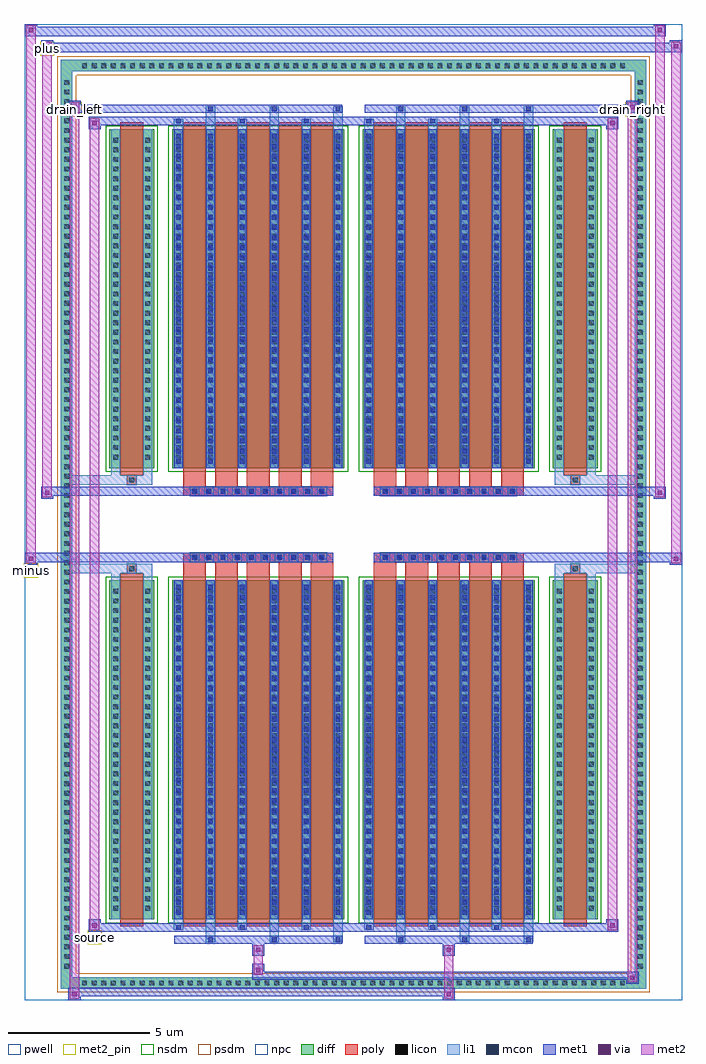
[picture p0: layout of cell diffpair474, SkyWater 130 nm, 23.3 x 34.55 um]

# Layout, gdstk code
import gdstk
lib = gdstk.Library(unit=1e-6, precision=5e-09)
def R(c, l, rs):  # rectangles x0, y0, x1, y1
    for r in rs: c.add(gdstk.rectangle(r[:2], r[2:], *l))
def A(c, l, x, y, w, h, nx, ny, dx, dy):  # array of equal rectangles
    R(c, l, [(x+i*dx, y+j*dy, x+i*dx+w, y+j*dy+h) for i in range(nx) for j in range(ny)])
def P(c, l, *ps):  # polygons
    for p in ps: c.add(gdstk.Polygon(p, *l))
pwell = (64, 44)
diff = (65, 20)
poly = (66, 20)
licon = (66, 44)
li1 = (67, 20)
mcon = (67, 44)
met1 = (68, 20)
via = (68, 44)
met2_pin = (69, 16)
met2 = (69, 20)
nsdm = (93, 44)
psdm = (94, 20)
npc = (95, 20)

diffpair474 = lib.new_cell('diffpair474')
R(diffpair474, pwell, [(-11.63,-16.84,11.63,17.71), (-8.95,-15.03,-0.01,-0.805), (0.01,-15.03,8.95,-0.805), (-8.95,0.805,-0.01,15.03), (0.01,0.805,8.95,15.03)])
A(diffpair474, diff, -9.725, -16.44, 0.41, 0.41, 57, 2, 0.34, 32.47)
A(diffpair474, diff, -10.36, -15.845, 0.41, 0.41, 1, 93, 0, 0.34)
A(diffpair474, diff, 9.95, -15.845, 0.41, 0.41, 1, 93, 0, 0.34)
R(diffpair474, diff, [(-9.725,-16.44,9.725,-16.03), (-10.36,-15.845,-9.95,15.845), (9.95,-15.845,10.36,15.845), (-8.64,-13.985,-7.06,-1.985), (-6.42,-13.985,-0.32,-1.985), (0.32,-13.985,6.42,-1.985), (7.06,-13.985,8.64,-1.985), (-8.64,1.985,-7.06,13.985), (-6.42,1.985,-0.32,13.985), (0.32,1.985,6.42,13.985), (7.06,1.985,8.64,13.985), (-9.725,16.03,9.725,16.44)])
P(diffpair474, diff, [(10.36,16.44),(-10.36,16.44),(-10.36,-16.03),(-9.95,-16.03),(-9.95,16.03),(9.95,16.03),(9.95,-16.03),(-9.95,-16.03),(-10.36,-16.03),(-10.36,-16.44),(10.36,-16.44)])
A(diffpair474, poly, -6.03, -14.235, 0.8, 12.5, 5, 2, 1.13, 15.97)
A(diffpair474, poly, 0.71, -14.235, 0.8, 12.5, 5, 2, 1.13, 15.97)
A(diffpair474, poly, -6.03, -1.735, 0.8, 0.4, 5, 2, 1.13, 3.07)
A(diffpair474, poly, 0.71, -1.735, 0.8, 0.4, 5, 2, 1.13, 3.07)
A(diffpair474, poly, -5.785, -1.335, 0.33, 0.33, 10, 2, 0.5, 2.34)
A(diffpair474, poly, 0.955, -1.335, 0.33, 0.33, 10, 2, 0.5, 2.34)
R(diffpair474, poly, [(-8.25,-14.235,-7.45,-1.735), (7.45,-14.235,8.25,-1.735), (-8.015,-1.735,-7.685,-1.405), (-8.015,-1.735,-7.685,-1.405), (7.685,-1.735,8.015,-1.405), (7.685,-1.735,8.015,-1.405), (-6.03,-1.335,-0.71,-1.005), (0.71,-1.335,6.03,-1.005), (-6.03,1.005,-0.71,1.335), (0.71,1.005,6.03,1.335), (-8.015,1.405,-7.685,1.735), (-8.015,1.405,-7.685,1.735), (7.685,1.405,8.015,1.735), (7.685,1.405,8.015,1.735), (-8.25,1.735,-7.45,14.235), (7.45,1.735,8.25,14.235)])
A(diffpair474, licon, -9.605, -16.32, 0.17, 0.17, 57, 2, 0.34, 32.47)
A(diffpair474, licon, -10.24, -15.725, 0.17, 0.17, 1, 93, 0, 0.34)
A(diffpair474, licon, 10.07, -15.725, 0.17, 0.17, 1, 93, 0, 0.34)
A(diffpair474, licon, -8.5, -13.68, 0.17, 0.17, 1, 34, 0, 0.34)
A(diffpair474, licon, -7.37, -13.68, 0.17, 0.17, 1, 34, 0, 0.34)
A(diffpair474, licon, -6.28, -13.68, 0.17, 0.17, 6, 34, 1.13, 0.34)
A(diffpair474, licon, 0.46, -13.68, 0.17, 0.17, 6, 34, 1.13, 0.34)
A(diffpair474, licon, 7.2, -13.68, 0.17, 0.17, 1, 34, 0, 0.34)
A(diffpair474, licon, 8.33, -13.68, 0.17, 0.17, 1, 34, 0, 0.34)
A(diffpair474, licon, -5.705, -1.255, 0.17, 0.17, 10, 2, 0.5, 2.34)
A(diffpair474, licon, 1.035, -1.255, 0.17, 0.17, 10, 2, 0.5, 2.34)
A(diffpair474, licon, -8.5, 2.29, 0.17, 0.17, 1, 34, 0, 0.34)
A(diffpair474, licon, -7.37, 2.29, 0.17, 0.17, 1, 34, 0, 0.34)
A(diffpair474, licon, -6.28, 2.29, 0.17, 0.17, 6, 34, 1.13, 0.34)
A(diffpair474, licon, 0.46, 2.29, 0.17, 0.17, 6, 34, 1.13, 0.34)
A(diffpair474, licon, 7.2, 2.29, 0.17, 0.17, 1, 34, 0, 0.34)
A(diffpair474, licon, 8.33, 2.29, 0.17, 0.17, 1, 34, 0, 0.34)
R(diffpair474, licon, [(-7.935,-1.655,-7.765,-1.485), (7.765,-1.655,7.935,-1.485), (-7.935,1.485,-7.765,1.655), (7.765,1.485,7.935,1.655)])
A(diffpair474, li1, -9.685, -16.4, 0.33, 0.33, 57, 2, 0.34, 32.47)
A(diffpair474, li1, -10.32, -15.805, 0.33, 0.33, 1, 93, 0, 0.34)
A(diffpair474, li1, 9.99, -15.805, 0.33, 0.33, 1, 93, 0, 0.34)
A(diffpair474, li1, -5.23, -14.79, 0.33, 0.805, 3, 2, 2.26, 28.775)
A(diffpair474, li1, -5.15, -14.79, 0.17, 0.17, 3, 2, 2.26, 29.41)
A(diffpair474, li1, 1.51, -14.79, 0.33, 0.805, 3, 2, 2.26, 28.775)
A(diffpair474, li1, 1.59, -14.79, 0.17, 0.17, 3, 2, 2.26, 29.41)
A(diffpair474, li1, -6.36, -14.36, 0.33, 0.375, 3, 2, 2.26, 28.345)
A(diffpair474, li1, -6.28, -14.36, 0.17, 0.17, 3, 2, 2.26, 28.55)
A(diffpair474, li1, 0.38, -14.36, 0.33, 0.375, 3, 2, 2.26, 28.345)
A(diffpair474, li1, 0.46, -14.36, 0.17, 0.17, 3, 2, 2.26, 28.55)
A(diffpair474, li1, -6.36, -13.985, 0.33, 12, 6, 2, 1.13, 15.97)
A(diffpair474, li1, 0.38, -13.985, 0.33, 12, 6, 2, 1.13, 15.97)
A(diffpair474, li1, -6.28, -13.83, 0.17, 0.17, 6, 33, 1.13, 0.36)
A(diffpair474, li1, -6.28, -13.83, 0.17, 11.69, 6, 2, 1.13, 15.97)
A(diffpair474, li1, 0.46, -13.83, 0.17, 0.17, 6, 33, 1.13, 0.36)
A(diffpair474, li1, 0.46, -13.83, 0.17, 11.69, 6, 2, 1.13, 15.97)
A(diffpair474, li1, -8.58, -13.76, 0.33, 0.33, 1, 34, 0, 0.34)
A(diffpair474, li1, -7.45, -13.76, 0.33, 0.33, 1, 34, 0, 0.34)
A(diffpair474, li1, -6.36, -13.76, 0.33, 0.33, 6, 34, 1.13, 0.34)
A(diffpair474, li1, 0.38, -13.76, 0.33, 0.33, 6, 34, 1.13, 0.34)
A(diffpair474, li1, 7.12, -13.76, 0.33, 0.33, 1, 34, 0, 0.34)
A(diffpair474, li1, 8.25, -13.76, 0.33, 0.33, 1, 34, 0, 0.34)
A(diffpair474, li1, -5.785, -1.335, 0.33, 0.33, 10, 2, 0.5, 2.34)
A(diffpair474, li1, 0.955, -1.335, 0.33, 0.33, 10, 2, 0.5, 2.34)
A(diffpair474, li1, -6.28, 2.14, 0.17, 0.17, 6, 33, 1.13, 0.36)
A(diffpair474, li1, 0.46, 2.14, 0.17, 0.17, 6, 33, 1.13, 0.36)
A(diffpair474, li1, -8.58, 2.21, 0.33, 0.33, 1, 34, 0, 0.34)
A(diffpair474, li1, -7.45, 2.21, 0.33, 0.33, 1, 34, 0, 0.34)
A(diffpair474, li1, -6.36, 2.21, 0.33, 0.33, 6, 34, 1.13, 0.34)
A(diffpair474, li1, 0.38, 2.21, 0.33, 0.33, 6, 34, 1.13, 0.34)
A(diffpair474, li1, 7.12, 2.21, 0.33, 0.33, 1, 34, 0, 0.34)
A(diffpair474, li1, 8.25, 2.21, 0.33, 0.33, 1, 34, 0, 0.34)
R(diffpair474, li1, [(-10.36,-16.44,-9.95,-16.03), (-10.36,-16.44,-9.95,-16.03), (-9.95,-16.44,9.95,-16.03), (9.95,-16.44,10.36,-16.03), (9.95,-16.44,10.36,-16.03), (-10.36,-16.03,-9.95,16.03), (9.95,-16.03,10.36,16.03), (-8.58,-13.985,-8.25,-1.985), (-7.45,-13.985,-7.12,-1.985), (7.12,-13.985,7.45,-1.985), (8.25,-13.985,8.58,-1.985), (-8.58,-1.985,-8.25,-1.405), (-7.45,-1.985,-7.12,-1.405), (7.12,-1.985,7.45,-1.405), (8.25,-1.985,8.58,-1.405), (-10.36,-1.735,-8.015,-1.405), (-8.58,-1.735,-8.015,-1.405), (-8.015,-1.735,-7.685,-1.405), (-7.685,-1.735,-7.12,-1.405), (7.12,-1.735,7.685,-1.405), (7.685,-1.735,8.015,-1.405), (7.685,-1.735,10.36,-1.405), (8.015,-1.735,8.58,-1.405), (-10.36,1.405,-8.015,1.735), (-8.58,1.405,-8.015,1.735), (-8.58,1.405,-8.25,1.985), (-8.015,1.405,-7.685,1.735), (-7.685,1.405,-7.12,1.735), (-7.45,1.405,-7.12,1.985), (7.12,1.405,7.685,1.735), (7.12,1.405,7.45,1.985), (7.685,1.405,8.015,1.735), (7.685,1.405,10.36,1.735), (8.015,1.405,8.58,1.735), (8.25,1.405,8.58,1.985), (-8.58,1.985,-8.25,13.985), (-7.45,1.985,-7.12,13.985), (7.12,1.985,7.45,13.985), (8.25,1.985,8.58,13.985), (-10.36,16.03,-9.95,16.44), (-10.36,16.03,-9.95,16.44), (-9.95,16.03,9.95,16.44), (9.95,16.03,10.36,16.44), (9.95,16.03,10.36,16.44)])
A(diffpair474, mcon, -5.15, -14.79, 0.17, 0.17, 3, 2, 2.26, 29.41)
A(diffpair474, mcon, 1.59, -14.79, 0.17, 0.17, 3, 2, 2.26, 29.41)
A(diffpair474, mcon, -6.28, -14.36, 0.17, 0.17, 3, 2, 2.26, 28.55)
A(diffpair474, mcon, 0.46, -14.36, 0.17, 0.17, 3, 2, 2.26, 28.55)
A(diffpair474, mcon, -6.28, -13.83, 0.17, 0.17, 6, 33, 1.13, 0.36)
A(diffpair474, mcon, 0.46, -13.83, 0.17, 0.17, 6, 33, 1.13, 0.36)
A(diffpair474, mcon, -5.705, -1.255, 0.17, 0.17, 10, 2, 0.5, 2.34)
A(diffpair474, mcon, 1.035, -1.255, 0.17, 0.17, 10, 2, 0.5, 2.34)
A(diffpair474, mcon, -6.28, 2.14, 0.17, 0.17, 6, 33, 1.13, 0.36)
A(diffpair474, mcon, 0.46, 2.14, 0.17, 0.17, 6, 33, 1.13, 0.36)
A(diffpair474, met1, -5.21, -14.85, 0.29, 0.29, 3, 2, 2.26, 29.41)
A(diffpair474, met1, 1.53, -14.85, 0.29, 0.29, 3, 2, 2.26, 29.41)
A(diffpair474, met1, -6.34, -14.42, 0.29, 0.29, 3, 2, 2.26, 28.55)
A(diffpair474, met1, 0.4, -14.42, 0.29, 0.29, 3, 2, 2.26, 28.55)
A(diffpair474, met1, -6.34, -13.985, 0.29, 12, 6, 2, 1.13, 15.97)
A(diffpair474, met1, 0.4, -13.985, 0.29, 12, 6, 2, 1.13, 15.97)
A(diffpair474, met1, -6.34, -13.89, 0.29, 0.29, 6, 33, 1.13, 0.36)
A(diffpair474, met1, 0.4, -13.89, 0.29, 0.29, 6, 33, 1.13, 0.36)
A(diffpair474, met1, -5.765, -1.315, 0.29, 0.29, 10, 2, 0.5, 2.34)
A(diffpair474, met1, 0.975, -1.315, 0.29, 0.29, 10, 2, 0.5, 2.34)
A(diffpair474, met1, -6.34, 2.08, 0.29, 0.29, 6, 33, 1.13, 0.36)
A(diffpair474, met1, 0.4, 2.08, 0.29, 0.29, 6, 33, 1.13, 0.36)
R(diffpair474, met1, [(-10.09,-16.84,-9.66,-16.41), (3.155,-16.84,3.585,-16.41), (-10.09,-16.7,3.585,-16.41), (9.66,-16.27,10.09,-15.84), (-3.585,-16.13,10.09,-15.84), (-3.585,-15.99,-3.155,-15.56), (-3.585,-15.28,-3.155,-14.85), (3.155,-15.28,3.585,-14.85), (-6.34,-14.85,-0.4,-14.56), (0.4,-14.85,6.34,-14.56), (-9.38,-14.42,-8.95,-13.99), (-9.38,-14.42,-6.34,-14.13), (-6.34,-14.42,-0.4,-14.13), (-0.4,-14.42,0.4,-14.13), (0.4,-14.42,6.34,-14.13), (6.34,-14.42,9.38,-14.13), (8.95,-14.42,9.38,-13.99), (-11.63,-1.435,-11.2,-1.005), (11.2,-1.435,11.63,-1.005), (-11.63,-1.335,-0.71,-1.005), (-6.03,-1.335,-0.71,-1.005), (0.71,-1.335,6.03,-1.005), (0.71,-1.335,11.63,-1.005), (-11.06,0.905,-10.63,1.335), (10.63,0.905,11.06,1.335), (-11.06,1.005,-6.03,1.335), (-6.03,1.005,-0.71,1.335), (0.71,1.005,6.03,1.335), (6.03,1.005,11.06,1.335), (-9.38,13.99,-8.95,14.42), (8.95,13.99,9.38,14.42), (-9.38,14.13,-6.34,14.42), (-6.34,14.13,-0.4,14.42), (-0.4,14.13,0.4,14.42), (0.4,14.13,6.34,14.42), (6.34,14.13,9.38,14.42), (-10.09,14.56,-9.66,14.99), (-10.09,14.56,-6.34,14.85), (-6.34,14.56,-0.4,14.85), (0.4,14.56,6.34,14.85), (6.34,14.56,10.09,14.85), (9.66,14.56,10.09,14.99), (-11.06,16.71,-10.63,17.14), (-11.06,16.71,-8.95,17.04), (-8.95,16.71,8.95,17.04), (8.95,16.71,11.63,17.04), (11.2,16.71,11.63,17.14), (-11.63,17.28,-11.2,17.71), (-11.63,17.28,-8.95,17.61), (-8.95,17.28,8.95,17.61), (8.95,17.28,11.06,17.61), (10.63,17.28,11.06,17.71)])
R(diffpair474, via, [(-9.95,-16.7,-9.8,-16.55), (3.295,-16.7,3.445,-16.55), (9.8,-16.13,9.95,-15.98), (-3.445,-15.85,-3.295,-15.7), (-3.445,-15.14,-3.295,-14.99), (3.295,-15.14,3.445,-14.99), (-9.24,-14.28,-9.09,-14.13), (9.09,-14.28,9.24,-14.13), (-11.49,-1.295,-11.34,-1.145), (11.34,-1.295,11.49,-1.145), (-10.92,1.045,-10.77,1.195), (10.77,1.045,10.92,1.195), (-9.24,14.13,-9.09,14.28), (9.09,14.13,9.24,14.28), (-9.95,14.7,-9.8,14.85), (9.8,14.7,9.95,14.85), (-10.92,16.85,-10.77,17), (11.34,16.85,11.49,17), (-11.49,17.42,-11.34,17.57), (10.77,17.42,10.92,17.57)])
R(diffpair474, met2_pin, [(-9.415,-14.87,-8.915,-14.37), (-11.665,-1.885,-11.165,-1.385), (-10.125,14.44,-9.625,14.94), (9.625,14.44,10.125,14.94), (-11.095,16.59,-10.595,17.09)])
R(diffpair474, met2, [(-10.04,-16.79,-9.71,-16.46), (-10.04,-16.79,-9.71,14.94), (3.205,-16.79,3.535,-16.46), (3.205,-16.46,3.535,-15.23), (9.71,-16.22,10.04,-15.89), (9.71,-16.22,10.04,14.94), (-3.535,-15.94,-3.205,-15.61), (-3.535,-15.61,-3.205,-15.23), (-3.535,-15.23,-3.205,-14.9), (3.205,-15.23,3.535,-14.9), (-9.33,-14.37,-9,-14.04), (-9.33,-14.37,-9,14.37), (9,-14.37,9.33,-14.04), (9,-14.37,9.33,14.37), (-11.58,-1.385,-11.25,-1.055), (-11.58,-1.385,-11.25,17.66), (11.25,-1.385,11.58,-1.055), (11.25,-1.385,11.58,17.09), (-11.01,0.955,-10.68,1.285), (-11.01,0.955,-10.68,17.09), (10.68,0.955,11.01,1.285), (10.68,0.955,11.01,17.66), (-9.33,14.04,-9,14.37), (9,14.04,9.33,14.37), (-10.04,14.61,-9.71,14.94), (9.71,14.61,10.04,14.94), (-11.01,16.76,-10.68,17.09), (11.25,16.76,11.58,17.09), (-11.58,17.33,-11.25,17.66), (10.68,17.33,11.01,17.66)])
P(diffpair474, met2, [(11.58,-1.385),(11.58,-1.385),(11.58,-1.055),(11.58,-1.055)],
  [(11.58,16.76),(11.58,16.76),(11.58,17.09),(11.58,17.09)],
  [(-11.25,-1.385),(-11.25,-1.385),(-11.25,-1.055),(-11.25,-1.055)],
  [(-11.25,17.33),(-11.25,17.33),(-11.25,17.66),(-11.25,17.66)],
  [(11.01,0.955),(11.01,0.955),(11.01,1.285),(11.01,1.285)],
  [(11.01,17.33),(11.01,17.33),(11.01,17.66),(11.01,17.66)],
  [(-10.68,0.955),(-10.68,0.955),(-10.68,1.285),(-10.68,1.285)],
  [(-10.68,16.76),(-10.68,16.76),(-10.68,17.09),(-10.68,17.09)],
  [(-9.71,-16.79),(-9.71,-16.79),(-9.71,-16.46),(-9.71,-16.46)],
  [(-9.71,14.61),(-9.71,14.61),(-9.71,14.94),(-9.71,14.94)],
  [(10.04,-16.22),(10.04,-16.22),(10.04,-15.89),(10.04,-15.89)],
  [(10.04,14.61),(10.04,14.61),(10.04,14.94),(10.04,14.94)],
  [(-9,-14.37),(-9,-14.37),(-9,-14.04),(-9,-14.04)],
  [(-9,14.04),(-9,14.04),(-9,14.37),(-9,14.37)],
  [(9.33,-14.37),(9.33,-14.37),(9.33,-14.04),(9.33,-14.04)],
  [(9.33,14.04),(9.33,14.04),(9.33,14.37),(9.33,14.37)])
R(diffpair474, nsdm, [(-8.77,-14.115,-6.93,-1.855), (-6.55,-14.115,-0.19,-1.855), (0.19,-14.115,6.55,-1.855), (6.93,-14.115,8.77,-1.855), (-8.77,1.855,-6.93,14.115), (-6.55,1.855,-0.19,14.115), (0.19,1.855,6.55,14.115), (6.93,1.855,8.77,14.115)])
P(diffpair474, psdm, [(10.49,16.57),(-10.49,16.57),(-10.49,-15.9),(-9.82,-15.9),(-9.82,15.9),(9.82,15.9),(9.82,-15.9),(-9.82,-15.9),(-10.49,-15.9),(-10.49,-16.57),(10.49,-16.57)])
A(diffpair474, npc, -5.805, -1.355, 0.37, 0.37, 10, 2, 0.5, 2.34)
A(diffpair474, npc, 0.935, -1.355, 0.37, 0.37, 10, 2, 0.5, 2.34)
R(diffpair474, npc, [(-8.035,-1.755,-7.665,-1.385), (7.665,-1.755,8.035,-1.385), (-5.805,-1.355,-4.935,-0.985), (-5.805,-1.355,-4.935,-0.985), (-5.305,-1.355,-4.435,-0.985), (-5.305,-1.355,-4.435,-0.985), (-4.805,-1.355,-3.935,-0.985), (-4.805,-1.355,-3.935,-0.985), (-4.305,-1.355,-3.435,-0.985), (-4.305,-1.355,-3.435,-0.985), (-3.805,-1.355,-2.935,-0.985), (-3.805,-1.355,-2.935,-0.985), (-3.305,-1.355,-2.435,-0.985), (-3.305,-1.355,-2.435,-0.985), (-2.805,-1.355,-1.935,-0.985), (-2.805,-1.355,-1.935,-0.985), (-2.305,-1.355,-1.435,-0.985), (-2.305,-1.355,-1.435,-0.985), (-1.805,-1.355,-0.935,-0.985), (-1.805,-1.355,-0.935,-0.985), (0.935,-1.355,1.805,-0.985), (0.935,-1.355,1.805,-0.985), (1.435,-1.355,2.305,-0.985), (1.435,-1.355,2.305,-0.985), (1.935,-1.355,2.805,-0.985), (1.935,-1.355,2.805,-0.985), (2.435,-1.355,3.305,-0.985), (2.435,-1.355,3.305,-0.985), (2.935,-1.355,3.805,-0.985), (2.935,-1.355,3.805,-0.985), (3.435,-1.355,4.305,-0.985), (3.435,-1.355,4.305,-0.985), (3.935,-1.355,4.805,-0.985), (3.935,-1.355,4.805,-0.985), (4.435,-1.355,5.305,-0.985), (4.435,-1.355,5.305,-0.985), (4.935,-1.355,5.805,-0.985), (4.935,-1.355,5.805,-0.985), (-5.805,0.985,-4.935,1.355), (-5.805,0.985,-4.935,1.355), (-5.305,0.985,-4.435,1.355), (-5.305,0.985,-4.435,1.355), (-4.805,0.985,-3.935,1.355), (-4.805,0.985,-3.935,1.355), (-4.305,0.985,-3.435,1.355), (-4.305,0.985,-3.435,1.355), (-3.805,0.985,-2.935,1.355), (-3.805,0.985,-2.935,1.355), (-3.305,0.985,-2.435,1.355), (-3.305,0.985,-2.435,1.355), (-2.805,0.985,-1.935,1.355), (-2.805,0.985,-1.935,1.355), (-2.305,0.985,-1.435,1.355), (-2.305,0.985,-1.435,1.355), (-1.805,0.985,-0.935,1.355), (-1.805,0.985,-0.935,1.355), (0.935,0.985,1.805,1.355), (0.935,0.985,1.805,1.355), (1.435,0.985,2.305,1.355), (1.435,0.985,2.305,1.355), (1.935,0.985,2.805,1.355), (1.935,0.985,2.805,1.355), (2.435,0.985,3.305,1.355), (2.435,0.985,3.305,1.355), (2.935,0.985,3.805,1.355), (2.935,0.985,3.805,1.355), (3.435,0.985,4.305,1.355), (3.435,0.985,4.305,1.355), (3.935,0.985,4.805,1.355), (3.935,0.985,4.805,1.355), (4.435,0.985,5.305,1.355), (4.435,0.985,5.305,1.355), (4.935,0.985,5.805,1.355), (4.935,0.985,5.805,1.355), (-8.035,1.385,-7.665,1.755), (7.665,1.385,8.035,1.755)])
diffpair474.add(gdstk.Label('minus', (-11.415,-1.635), layer=69, texttype=5))
diffpair474.add(gdstk.Label('drain_right', (9.875,14.69), layer=69, texttype=5))
diffpair474.add(gdstk.Label('drain_left', (-9.875,14.69), layer=69, texttype=5))
diffpair474.add(gdstk.Label('source', (-9.165,-14.62), layer=69, texttype=5))
diffpair474.add(gdstk.Label('plus', (-10.845,16.84), layer=69, texttype=5))

lib.write_gds('diffpair474.gds')
